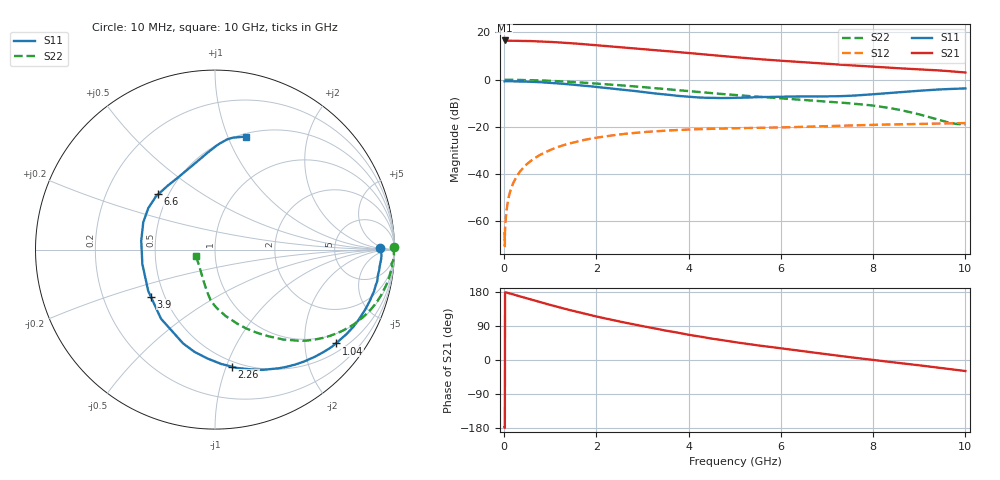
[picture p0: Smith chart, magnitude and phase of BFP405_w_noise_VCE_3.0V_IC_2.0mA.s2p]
! Infineon Technologies  Discrete & RF Semiconductors
! BFP405
! VCE =  3.0 V,  IC =  2.0 mA
! Common Emitter S-Parameters:  Jan 2016
# GHz  S  MA  R  50
!  f  S11  S21  S12  S22
! GHz  MAG  ANG  MAG  ANG  MAG  ANG  MAG  ANG
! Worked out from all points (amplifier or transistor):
!   233 points, 10 MHz to 10 GHz, reference 50 ohm
!   highest |S21| = 16.6 dB at 10 MHz (marker M1)
!   |S21| within 3 dB of that: start of sweep to 2.602 GHz
!   unconditionally stable (mu >= 1): 14.42 MHz to 15.26 MHz; 4.419 GHz to end of sweep
!   at 200 MHz: K = 0.06, MSG = 30.0 dB, |S12| = -43.6 dB
!   at 1.74 GHz: K = 0.31, MSG = 20.2 dB, |S12| = -25.5 dB
!   at 10 GHz: K = 1.69, MAG = 5.9 dB, |S12| = -18.4 dB
!   lowest NFmin = 0.86 dB at 900 MHz
!   S11 on the Smith chart (normalised r, x): 10 MHz: 24, +2; 1.04 GHz: 0.72, -2.75; 2.26 GHz: 0.45, -1.05; 3.9 GHz: 0.42, -0.27; 6.6 GHz: 0.44, +0.34; 10 GHz: 0.53, +1.17
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0.01  0.92 0.5  6.757 -177.4  0.0006 -42.5  1 0.8
0.015  0.9227 0.1  6.713 -179.3  0.0003 25.8  0.9966 0.5
0.02  0.9255 -0.3  6.677 178.8  0.0007 78.6  0.9933 0.2
0.055  0.9283 -2.2  6.647 178.1  0.0018 88.2  0.9965 -0.7
0.09  0.927 -3.2  6.675 176.5  0.003 85.0  0.997 -1.5
0.24  0.9192 -8.6  6.677 171.5  0.0079 84.9  0.9874 -4.5
0.5  0.9089 -18.2  6.602 162.5  0.0166 80.8  0.9823 -9.2
0.8  0.8827 -29.2  6.443 152.2  0.0263 74.9  0.9631 -14.6
1.04  0.8527 -37.8  6.265 144.1  0.0338 70.3  0.9418 -18.9
1.38  0.8031 -50.0  5.966 133.1  0.0437 63.7  0.9052 -24.7
1.68  0.7547 -60.8  5.676 124.1  0.0517 58.2  0.8689 -29.4
1.96  0.708 -70.9  5.392 116.0  0.0583 53.4  0.8333 -33.4
2.26  0.6596 -81.7  5.099 108.0  0.0646 48.5  0.7945 -37.5
2.84  0.5744 -102.8  4.578 93.3  0.075 39.9  0.7183 -44.9
3.4  0.4966 -123.8  4.116 80.1  0.0825 32.3  0.644 -51.3
3.9  0.4435 -143.8  3.736 69.0  0.0873 26.4  0.5824 -56.8
4.5  0.4127 -168.7  3.321 56.4  0.0916 20.2  0.5183 -63.3
5.1  0.4147 170.3  2.944 45.4  0.0942 15.2  0.4661 -69.1
6.6  0.4415 135.7  2.305 21.4  0.1011 6.8  0.3677 -81.8
6.8  0.4408 131.0  2.235 18.2  0.1024 5.8  0.3558 -83.6
8.4  0.5272 96.6  1.781 -5.6  0.1129 -3.4  0.247 -99.4
10  0.6534 74.6  1.418 -29.1  0.1207 -11.9  0.1117 -161.1
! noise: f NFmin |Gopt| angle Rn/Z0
0.9  0.86  0.58  15  0.42
1.8  1.21  0.46  27  0.37
2.4  1.43  0.38  38  0.36
3  1.47  0.38  52  0.33
4  1.69  0.25  80  0.26
5  2.05  0.21  114  0.21
